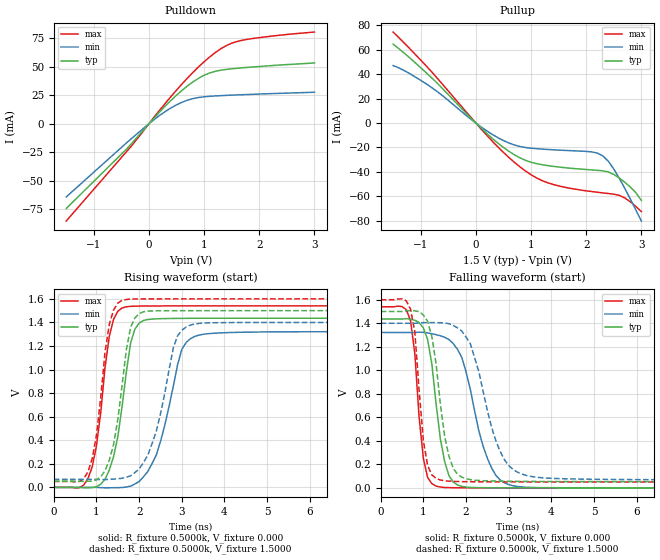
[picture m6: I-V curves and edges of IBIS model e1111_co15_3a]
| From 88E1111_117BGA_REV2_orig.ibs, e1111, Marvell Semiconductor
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|   Model e1111_co15_3a
[Model]   e1111_co15_3a
Model_type   Output
Polarity   Non-Inverting
Enable   Active-High
Vmeas =   0.7500V
Cref =  15.0000pF
Vref =  0.000V
C_comp   0.9000pF   0.7600pF   1.0300pF
[Temperature Range]   25.0000   0.1250k   0.000
[Voltage Range]   1.5000V   1.4000V   1.6000V
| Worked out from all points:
|   slope of the pulldown table from 0 to 0.225 V, typ, clamps not added: 18.9 ohm
|   slope of the pullup table from 0 to 0.225 V, typ, clamps not added: 23.3 ohm
|   rising waveform, R_fixture 0.5000k, V_fixture 0.000: 20-80 % time 353ps typ, 525ps min, 307ps max; typ from 0 V to 1.44 V
|   rising waveform, R_fixture 0.5000k, V_fixture 1.5000: 20-80 % time 338ps typ, 509ps min, 302ps max; typ from 0.053 V to 1.5 V
|   falling waveform, R_fixture 0.5000k, V_fixture 0.000: 20-80 % time 312ps typ, 545ps min, 216ps max; typ from 1.44 V to 0 V
|   falling waveform, R_fixture 0.5000k, V_fixture 1.5000: 20-80 % time 324ps typ, 594ps min, 213ps max; typ from 1.5 V to 0.053 V
[Pulldown]
| voltage   I(typ)   I(min)   I(max)
-1.5V     -74.22mA   -64.06mA   -85.14mA
-400mV    -21.88mA   -16.44mA   -24.05mA
0V        289.8pA    5.169nA    706.8pA
300mV     15.66mA    10.82mA    18.1mA
600mV     29.23mA    18.8mA     34.86mA
800mV     36.69mA    22.04mA    45.06mA
1V        42.4mA     23.56mA    54.27mA
1.2V      45.84mA    24.3mA     62.18mA
1.4V      47.52mA    24.81mA    68.31mA
1.7V      48.97mA    25.41mA    73.12mA
2.3V      51.13mA    26.47mA    77.06mA
3V        53.18mA    27.55mA    80.24mA
[Pullup]
| voltage   I(typ)   I(min)   I(max)
-1.5V     64.61mA    47.02mA    74.52mA
-800mV    37mA       29.04mA    41.87mA
300mV     -12.67mA   -9.367mA   -14.93mA
600mV     -23.17mA   -16.33mA   -28.23mA
900mV     -30.53mA   -20.04mA   -39.27mA
1.4V      -35.44mA   -21.89mA   -50.25mA
2.1V      -38.36mA   -23.6mA    -56.07mA
2.3V      -39.11mA   -26.81mA   -57.17mA
2.5V      -42.04mA   -37.57mA   -58.22mA
2.7V      -48.46mA   -53.47mA   -61.31mA
2.9V      -57.02mA   -71.09mA   -68.26mA
3V        -63.27mA   -80.19mA   -72.4mA
[Ramp]
| variable   typ   min   max
dV/dt_r   0.8614/0.3528n   0.7929/0.5250n   0.9242/0.3067n
dV/dt_f   0.8682/0.3244n   0.7991/0.5936n   0.9300/0.2125n
R_load = 0.5000k
[Rising Waveform]
R_fixture = 0.5000k
V_fixture = 0.000
V_fixture_min = 0.000
V_fixture_max = 0.000
| time   V(typ)   V(min)   V(max)
0s        0V         0V         0V
800ps     -3.218mV   -15.82uV   74.28mV
1ns       5.763mV    52.07uV    353.6mV
1.3ns     146.7mV    -3.215mV   1.282V
1.6ns     687.5mV    -1.119mV   1.523V
1.8ns     1.226V     10.66mV    1.536V
2ns       1.394V     49.35mV    1.539V
3ns       1.435V     1.171V     1.54V
3.3ns     1.435V     1.281V     1.54V
9.9ns     1.436V     1.321V     1.54V
[Rising Waveform]
R_fixture = 0.5000k
V_fixture = 1.5000
V_fixture_min = 1.4000
V_fixture_max = 1.6000
| time   V(typ)   V(min)   V(max)
0s        53.04mV    68.08mV    50.04mV
800ps     51.41mV    68.07mV    132.3mV
1ns       63.97mV    68.08mV    443.3mV
1.3ns     230.6mV    68.09mV    1.384V
1.6ns     868.1mV    77.39mV    1.588V
1.9ns     1.438V     125.5mV    1.599V
2.4ns     1.498V     474.6mV    1.6V
2.9ns     1.5V       1.286V     1.6V
3.2ns     1.5V       1.377V     1.6V
9.9ns     1.5V       1.4V       1.6V
[Falling Waveform]
R_fixture = 0.5000k
V_fixture = 0.000
V_fixture_min = 0.000
V_fixture_max = 0.000
| time   V(typ)   V(min)   V(max)
0s        1.436V     1.322V     1.54V
700ps     1.434V     1.321V     1.421V
1ns       1.36V      1.323V     250.2mV
1.3ns     707.6mV    1.303V     14.7mV
1.5ns     221.9mV    1.281V     3.244mV
1.7ns     49.44mV    1.228V     1.246mV
1.9ns     12.23mV    1.11V      616.3uV
2.5ns     868.6uV    251.7mV    235.6uV
3ns       380.5uV    27.95mV    68.21uV
9.9ns     -3.069uV   8.941uV    2.457uV
[Falling Waveform]
R_fixture = 0.5000k
V_fixture = 1.5000
V_fixture_min = 1.4000
V_fixture_max = 1.6000
| time   V(typ)   V(min)   V(max)
0s        1.5V       1.4V       1.6V
700ps     1.507V     1.4V       1.519V
800ps     1.506V     1.4V       1.327V
1ns       1.47V      1.405V     402.9mV
1.3ns     1.05V      1.405V     79.74mV
1.7ns     165.8mV    1.381V     55.08mV
2.1ns     70.19mV    1.227V     52.28mV
2.8ns     57.07mV    309.9mV    50.75mV
3.3ns     55.11mV    118.2mV    50.4mV
9.9ns     53.04mV    68.22mV    50.04mV
